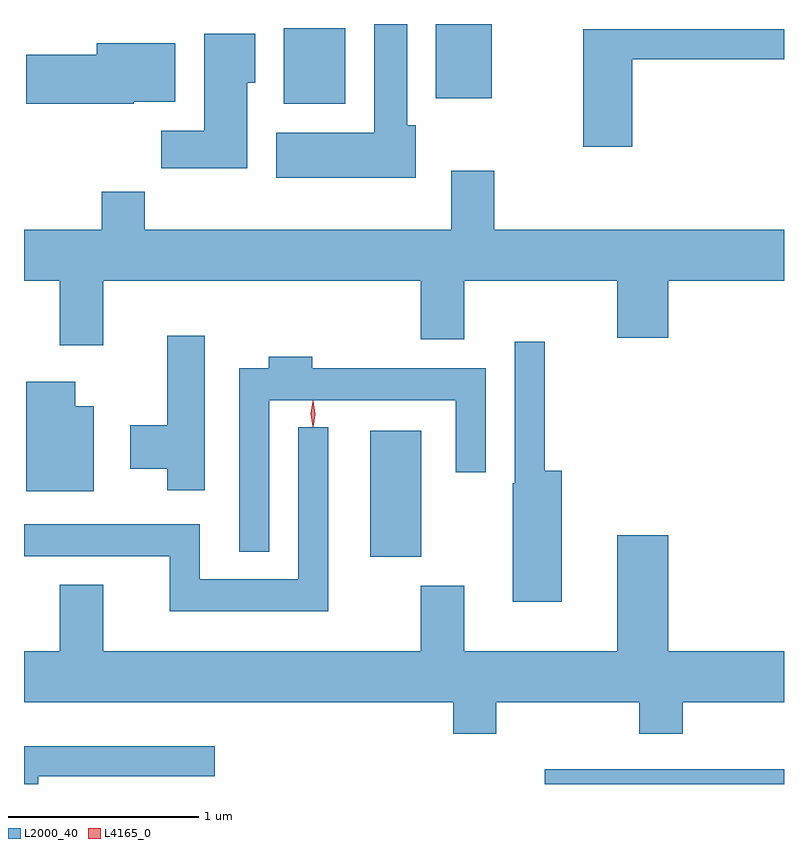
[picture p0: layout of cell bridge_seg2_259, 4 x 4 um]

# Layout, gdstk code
import gdstk
lib = gdstk.Library(unit=1e-6, precision=1e-09)
def R(c, l, rs):  # rectangles x0, y0, x1, y1
    for r in rs: c.add(gdstk.rectangle(r[:2], r[2:], *l))
def P(c, l, *ps):  # polygons
    for p in ps: c.add(gdstk.Polygon(p, *l))
L2000_40 = (2000, 40)
L4165_0 = (4165, 0)

bridge_seg2_259 = lib.new_cell('bridge_seg2_259')
R(bridge_seg2_259, L2000_40, [(634.273,1070.086,635.533,1070.164), (633.356,1071.281,633.624,1071.944), (632.901,1073.666,633.224,1074.064), (633.701,1073.696,633.994,1074.086)])
P(bridge_seg2_259, L2000_40, [(633.594,1073.554),(633.549,1073.554),(633.549,1074.086),(633.376,1074.086),(633.376,1073.514),(632.861,1073.514),(632.861,1073.276),(633.594,1073.276)],
  [(634.734,1073.901),(635.533,1073.901),(635.533,1074.059),(634.476,1074.059),(634.476,1073.441),(634.734,1073.441)],
  [(632.709,1073.776),(632.749,1073.776),(632.749,1074.034),(632.481,1074.034),(632.481,1073.524),(632.256,1073.524),(632.256,1073.326),(632.709,1073.326)],
  [(632.11,1073.676),(632.329,1073.676),(632.329,1073.984),(631.916,1073.984),(631.916,1073.924),(631.546,1073.924),(631.546,1073.666),(632.11,1073.666)],
  [(631.949,1072.736),(633.621,1072.736),(633.621,1072.426),(633.849,1072.426),(633.849,1072.736),(634.656,1072.736),(634.656,1072.436),(634.924,1072.436),(634.924,1072.736),(635.533,1072.736),(635.533,1073.004),(634.009,1073.004),(634.009,1073.314),(633.781,1073.314),(633.781,1073.004),(632.169,1073.004),(632.169,1073.204),(631.941,1073.204),(631.941,1073.004),(631.533,1073.004),(631.533,1072.736),(631.721,1072.736),(631.721,1072.396),(631.949,1072.396)],
  [(632.484,1072.444),(632.286,1072.444),(632.286,1071.974),(632.091,1071.974),(632.091,1071.746),(632.286,1071.746),(632.286,1071.631),(632.484,1071.631)],
  [(634.364,1071.734),(634.274,1071.734),(634.274,1072.413),(634.116,1072.413),(634.116,1071.67),(634.106,1071.67),(634.106,1071.046),(634.364,1071.046)],
  [(632.824,1072.106),(633.806,1072.106),(633.806,1071.728),(633.964,1071.728),(633.964,1072.274),(633.049,1072.274),(633.049,1072.334),(632.821,1072.334),(632.821,1072.274),(632.666,1072.274),(632.666,1071.308),(632.824,1071.308)],
  [(631.899,1072.074),(631.804,1072.074),(631.804,1072.204),(631.546,1072.204),(631.546,1071.626),(631.899,1071.626)],
  [(633.134,1071.963),(632.976,1071.963),(632.976,1071.164),(632.459,1071.164),(632.459,1071.454),(631.533,1071.454),(631.533,1071.286),(632.301,1071.286),(632.301,1070.996),(633.134,1070.996)],
  [(634.019,1070.516),(634.771,1070.516),(634.771,1070.351),(634.999,1070.351),(634.999,1070.516),(635.533,1070.516),(635.533,1070.784),(634.924,1070.784),(634.924,1071.394),(634.656,1071.394),(634.656,1070.784),(633.849,1070.784),(633.849,1071.129),(633.621,1071.129),(633.621,1070.784),(631.949,1070.784),(631.949,1071.134),(631.721,1071.134),(631.721,1070.784),(631.533,1070.784),(631.533,1070.516),(633.791,1070.516),(633.791,1070.351),(634.019,1070.351)],
  [(631.609,1070.126),(632.538,1070.126),(632.538,1070.284),(631.533,1070.284),(631.533,1070.086),(631.609,1070.086)])
P(bridge_seg2_259, L4165_0, [(633.054,1071.964),(633.045,1072.033),(633.054,1072.102),(633.055,1072.103),(633.055,1072.102),(633.065,1072.033),(633.055,1071.964),(633.055,1071.964)],
  [(633.053,1071.967),(633.053,1071.967),(633.043,1072.034),(633.053,1072.1),(633.053,1072.101),(633.054,1072.1),(633.063,1072.034),(633.054,1071.967)])

lib.write_gds('bridge_seg2_259.gds')
